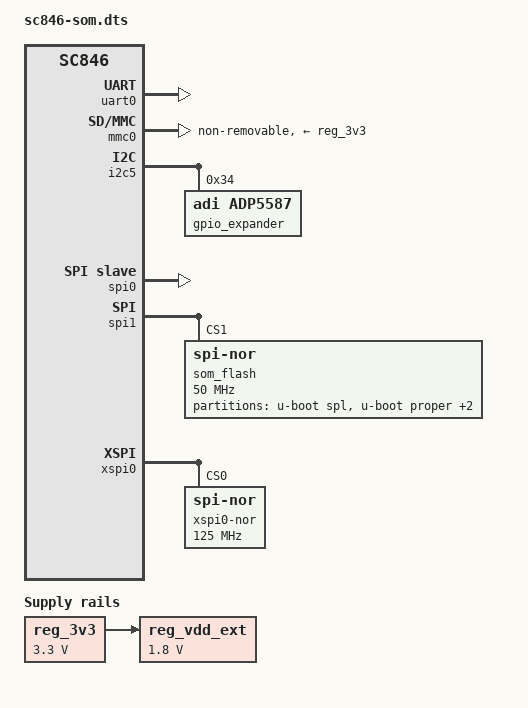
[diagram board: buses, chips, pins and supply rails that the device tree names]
// SPDX-License-Identifier: GPL-2.0-only
/*
 * Copyright (c) 2026 Analog Devices, Inc.
 */

/dts-v1/;

#include <dt-bindings/gpio/gpio.h>
#include <dt-bindings/pinctrl/adi,adsp-sc846-pinctrl.h>
#include <dt-bindings/soc/adi/sc5xx-tru.h>
#include <dt-bindings/pinctrl/adi-adsp-sru.h>

#include "sc846.dtsi"

/ {
	chosen {
		stdout-path = &uart0;
	};

	reg_3v3: regulator-3v3 {
		compatible = "regulator-fixed";
		regulator-name = "3V3";
		regulator-min-microvolt = <3300000>;
		regulator-max-microvolt = <3300000>;
		regulator-always-on;
	};

	reg_vdd_ext: regulator-vdd-ext {
		compatible = "regulator-fixed";
		regulator-name = "VDD_EXT";
		regulator-min-microvolt = <1800000>;
		regulator-max-microvolt = <1800000>;
		regulator-always-on;
		vin-supply = <&reg_3v3>;
	};

	reserved-memory {
		#address-cells = <1>;
		#size-cells = <1>;
		ranges;

		vdev0vrings: vdev0vring0@20400000 {
			reg = <0x20400000 0x4000>;
			no-map;
		};

		rsc_tbl0: rsc_tbl0@20404000 {
			reg = <0x20404000 0x400>;
			no-map;
		};
	};
};

&scb {
	remoteproc { // XXX find a better name than "remoteproc"
		compatible = "simple-bus";

		#address-cells = <2>;
		#size-cells = <1>;

		/*
		 * Translations between ARM and SHARC. Each item
		 * consists of SHARC id, SHARC's address base,
		 * corresponding ARM address base and region size.
		 */
		ranges = <0x0 0x2f780000 0x28240000 0x00090000>,
			 <0x0 0x20400000 0x20400000 0x00400000>;

		sharc@0 {
			compatible = "adi,adsp-sc846-rproc";
			reg = <0x0 0x28240000 0x00090000>,
			      <0x0 0x20400000 0x00400000>;
			reg-names = "l1", "l2";
			core-id = <1>;
			core-irq = <321>; /* SOFT1 */
			firmware-name = "adi/rpmsg_echo_sharc_core1.ldr";
			interrupts = <GIC_SPI 352 IRQ_TYPE_EDGE_RISING>; /* TRU0_RCV3 */
			adi,svect = <&rcu 0x30>;
			resets = <&rcu 1 0>, <&rcu 1 1>;
			reset-names = "crst", "start";
			mboxes = <&tru 171>; /* trigger master SOFT4 */
			mbox-names = "kick";
			adi,rsc-table = <&rsc_tbl0>;
			vdev-vring = <&vdev0vrings>;
			adi,tru = <&tru>;
			adi,tru-master-id = <ADI_TRU_MST_SOFT(4)>;
		};
	};
};

&uart0 {
	pinctrl-names = "default";
	pinctrl-0 = <&uart0_default>;
	status = "okay";
};

&mmc0 {
	vmmc-supply = <&reg_3v3>;
	vqmmc-supply = <&reg_vdd_ext>;
	non-removable;
	no-sd;
	no-sdio;
	status = "okay";
};

&i2c5 {
	pinctrl-names = "default";
	pinctrl-0 = <&i2c5_pins>;
	status = "okay";

	gpio_expander: gpio@34 {
		compatible = "adi,adp5587";
		gpio-controller;
		#gpio-cells = <2>;
		reg = <0x34>;

		uart0-flow-hog {
			gpio-hog;
			gpios = <0 GPIO_ACTIVE_LOW>;
			output-low;
			line-name = "uart0-flow-en";
		};

		uart0-hog {
			gpio-hog;
			gpios = <1 GPIO_ACTIVE_LOW>;
			output-high;
			line-name = "uart0-en";
		};

		sd-card-en-hog {
			gpio-hog;
			gpios = <2 GPIO_ACTIVE_LOW>;
			output-low;
			line-name = "sd-card-en";
		};

		usb-phy-reset-hog {
			gpio-hog;
			gpios = <3 GPIO_ACTIVE_LOW>;
			output-low;
			line-name = "usb-phy-reset";
		};

		led-ds4-hog {
			gpio-hog;
			gpios = <15 GPIO_ACTIVE_LOW >;
			output-high;
			line-name = "led-ds4";
		};

		led-ds3-hog {
			gpio-hog;
			gpios = <16 GPIO_ACTIVE_LOW>;
			output-high;
			line-name = "led-ds3";
		};

		led-ds2-hog {
			gpio-hog;
			gpios = <17 GPIO_ACTIVE_LOW>;
			output-high;
			line-name = "led-ds2";
		};
	};
};

&spi0 {
	pinctrl-names = "default";
	pinctrl-0 = <&spi0_default>;
	#address-cells = <0>;
	spi-slave;
	status = "okay";
};

&spi1 {
	pinctrl-names = "default";
	pinctrl-0 = <&spi1_default>;
	//bus-num = <2>;
	status = "okay";

	som_flash: flash@1 {
		compatible = "jedec,spi-nor";
		reg = <1>;
		spi-rx-bus-width = <4>;
		spi-tx-bus-width = <4>;
		spi-max-frequency = <50000000>;

		partitions {
			compatible = "fixed-partitions";
			#address-cells = <1>;
			#size-cells = <1>;

			partition@0 {
				label = "u-boot spl";
				reg = <0x00000000 0x40000>;
			};

			partition@40000 {
				label = "u-boot proper";
				reg = <0x00040000 0xc0000>;
			};

			partition@100000 {
				label = "kernel";
				reg = <0x00100000 0x2000000>;
			};

			partition@2100000 {
				label = "rootfs";
				reg = <0x2100000 0xdf00000>;
			};
		};
	};
};

&xspi0 {
	pinctrl-names = "default";
	pinctrl-0 = <&xspi0_default>;
	status = "okay";

	flash@0 {
		compatible = "jedec,spi-nor";
		reg = <0>;
		spi-max-frequency = <125000000>;
		spi-tx-bus-width = <8>;
		spi-rx-bus-width = <8>;
		m25p,fast-read;
		label = "xspi0-nor";
	};
};

&pinctrl {
	uart0_default: uart0-default-pins {
		pinmux = <ADSP_SC846_PA00__UART0_TX
			  ADSP_SC846_PA01__UART0_RX>;
	};

	uart0_hwflow: uart0-hwflow-pins {
		pinmux = <ADSP_SC846_PA02__UART0_RTS
			  ADSP_SC846_PA03__UART0_CTS>;
	};

	xspi0_default: xspi0-default-pins {
		pinmux = <ADSP_SC846_PE05__XSPI0_SEL1
			  ADSP_SC846_PD14__XSPI0_CLK
			  ADSP_SC846_PE06__XSPI0_SEL2
			  ADSP_SC846_PD15__XSPI0_CLK
			  ADSP_SC846_PE04__XSPI0_DQS_RWDS
			  ADSP_SC846_PD11__XSPI0_COTI
			  ADSP_SC846_PD10__XSPI0_CITO
			  ADSP_SC846_PD12__XSPI0_D2
			  ADSP_SC846_PD13__XSPI0_D3
			  ADSP_SC846_PE00__XSPI0_D4
			  ADSP_SC846_PE01__XSPI0_D5
			  ADSP_SC846_PE02__XSPI0_D6
			  ADSP_SC846_PE03__XSPI0_D7>;
	};

	xspi1_default: xspi1-default-pins {
		pinmux = <ADSP_SC846_PF02__XSPI1_SEL1
			  ADSP_SC846_PE11__XSPI1_CLK
			  ADSP_SC846_PF03__XSPI1_SEL2
			  ADSP_SC846_PE12__XSPI1_CLK
			  ADSP_SC846_PF01__XSPI1_DQS_RWDS
			  ADSP_SC846_PE08__XSPI1_COTI
			  ADSP_SC846_PE07__XSPI1_CITO
			  ADSP_SC846_PE09__XSPI1_D2
			  ADSP_SC846_PE10__XSPI1_D3
			  ADSP_SC846_PE13__XSPI1_D4
			  ADSP_SC846_PE14__XSPI1_D5
			  ADSP_SC846_PE15__XSPI1_D6
			  ADSP_SC846_PF00__XSPI1_D7>;
	};

	spi0_default: spi0-default-pins {
		pinmux = <ADSP_SC846_PC09__SPI0_CLK
			  ADSP_SC846_PC10__SPI0_CITO
			  ADSP_SC846_PC11__SPI0_COTI
			  ADSP_SC846_PC12__SPI0_SEL1>;
	};

	spi1_default: spi1-default-pins {
		pinmux = <ADSP_SC846_PD00__SPI1_CITO
			  ADSP_SC846_PD01__SPI1_COTI
			  ADSP_SC846_PD02__SPI1_SEL1
			  ADSP_SC846_PB10__SPI1_D2
			  ADSP_SC846_PB11__SPI1_D3
			  ADSP_SC846_PC15__SPI1_CLK>;
	};

	i2c5_pins: i2c5-default-pins {
		pinmux = <ADSP_SC846_PB02__TWI5_SCL
			  ADSP_SC846_PB03__TWI5_SDA>;
	};
};
